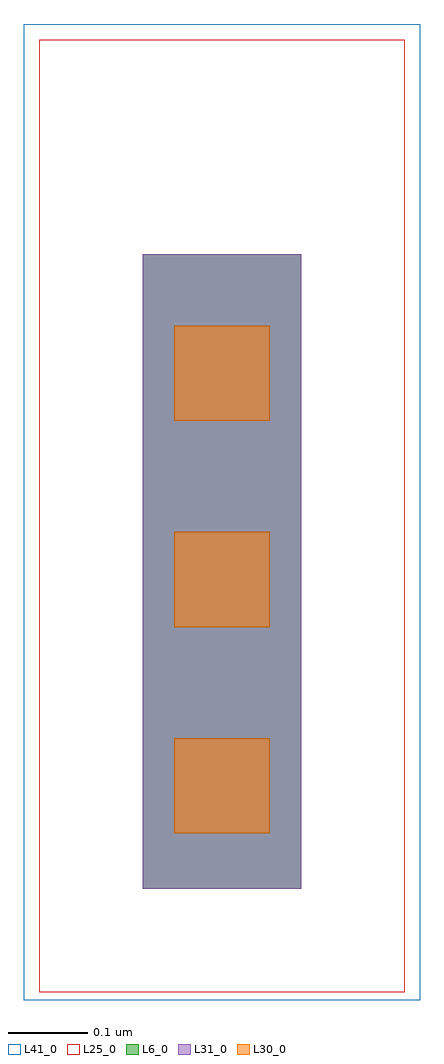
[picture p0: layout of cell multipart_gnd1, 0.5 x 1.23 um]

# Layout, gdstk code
import gdstk
lib = gdstk.Library(unit=1e-6, precision=1e-09)
def R(c, l, rs):  # rectangles x0, y0, x1, y1
    for r in rs: c.add(gdstk.rectangle(r[:2], r[2:], *l))
def A(c, l, x, y, w, h, nx, ny, dx, dy):  # array of equal rectangles
    R(c, l, [(x+i*dx, y+j*dy, x+i*dx+w, y+j*dy+h) for i in range(nx) for j in range(ny)])
L6_0 = (6, 0)
L25_0 = (25, 0)
L30_0 = (30, 0)
L31_0 = (31, 0)
L41_0 = (41, 0)

multipart_gnd1 = lib.new_cell('multipart_gnd1')
R(multipart_gnd1, L25_0, [(0,1.06,0.46,1.2)])
A(multipart_gnd1, L30_0, 0.17, 0.2, 0.12, 0.12, 1, 3, 0, 0.26)
R(multipart_gnd1, L41_0, [(-0.02,-0.01,0.48,1.22)])
multipart_gnd1.add(gdstk.FlexPath([(0.23,0.13),(0.23,0.93)], 0.2, ends="flush", simple_path=True, layer=6, datatype=0))  # L6_0
multipart_gnd1.add(gdstk.FlexPath([(0.23,0),(0.23,1.06)], 0.46, ends="flush", simple_path=True, layer=25, datatype=0))  # L25_0
multipart_gnd1.add(gdstk.FlexPath([(0.23,0.13),(0.23,0.93)], 0.2, ends="flush", simple_path=True, layer=31, datatype=0))  # L31_0

lib.write_gds('multipart_gnd1.gds')
